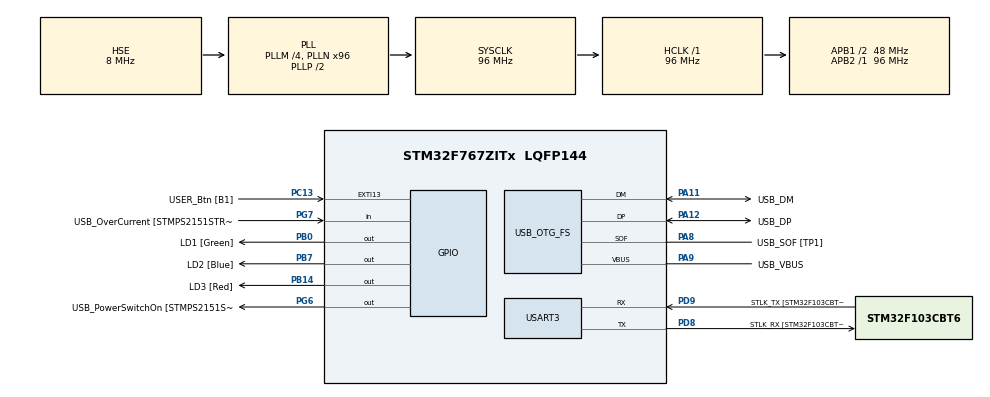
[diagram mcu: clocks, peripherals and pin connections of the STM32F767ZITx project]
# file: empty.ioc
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Mcu.Family=STM32F7
NVIC.USART3_IRQn=true\:0\:0\:false\:false\:true\:true\:true
Dma.USART3_RX.0.PeriphInc=DMA_PINC_DISABLE
RCC.CortexFreq_Value=96000000
PG6.Signal=GPIO_Output
Dma.USART3_TX.1.MemInc=DMA_MINC_ENABLE
PB14.GPIO_Label=LD3 [Red]
VP_IWDG_VS_IWDG.Mode=IWDG_Activate
PG6.GPIO_Label=USB_PowerSwitchOn [STMPS2151STR_EN]
PA14.GPIO_Label=TCK
RCC.SYSCLKSourceVirtual=RCC_SYSCLKSOURCE_PLLCLK
Dma.USART3_TX.1.PeriphDataAlignment=DMA_PDATAALIGN_BYTE
PA11.Mode=Device_Only
PB0.GPIO_Label=LD1 [Green]
PC14/OSC32_IN.Mode=LSE-External-Oscillator
Dma.USART3_TX.1.Instance=DMA1_Stream3
PC13.GPIO_Label=USER_Btn [B1]
PB13.GPIO_Label=RMII_TXD1 [LAN8742A-CZ-TR_TXD1]
PB13.Signal=ETH_TXD1
PG13.Signal=ETH_TXD0
PD9.Mode=Asynchronous
PG11.Signal=ETH_TX_EN
RCC.SYSCLKSource=RCC_SYSCLKSOURCE_PLLCLK
ProjectManager.StackSize=0x400
USART3.VirtualMode-Asynchronous=VM_ASYNC
PA12.Signal=USB_OTG_FS_DP
PH0/OSC_IN.Mode=HSE-External-Clock-Source
RCC.HCLKFreq_Value=96000000
RCC.APB2TimFreq_Value=96000000
PH1/OSC_OUT.Signal=RCC_OSC_OUT
PD8.Signal=USART3_TX
RCC.AHBFreq_Value=96000000
RCC.HSE_VALUE=8000000
Dma.USART3_RX.0.MemDataAlignment=DMA_MDATAALIGN_BYTE
Dma.USART3_TX.1.Mode=DMA_NORMAL
RCC.PLLMUL=RCC_PLL_MUL9
PC4.GPIO_Label=RMII_RXD0 [LAN8742A-CZ-TR_RXD0]
PA14.Mode=Serial_Wire
PA10.GPIO_Label=USB_ID
Dma.USART3_RX.0.PeriphDataAlignment=DMA_PDATAALIGN_BYTE
PB7.Signal=GPIO_Output
Dma.USART3_RX.0.FIFOMode=DMA_FIFOMODE_DISABLE
PA8.Signal=USB_OTG_FS_SOF
PH1/OSC_OUT.Mode=HSE-External-Clock-Source
Dma.USART3_TX.1.FIFOMode=DMA_FIFOMODE_DISABLE
Dma.USART3_TX.1.Priority=DMA_PRIORITY_LOW
PB7.GPIO_Label=LD2 [Blue]
Dma.USART3_RX.0.Direction=DMA_PERIPH_TO_MEMORY
Mcu.Package=LQFP144
PC14/OSC32_IN.Signal=RCC_OSC32_IN
PA2.GPIO_Label=RMII_MDIO [LAN8742A-CZ-TR_MDIO]
PA10.Signal=USB_OTG_FS_ID
USB_OTG_FS.VirtualMode=Device_Only
Dma.USART3_RX.0.MemInc=DMA_MINC_ENABLE
Dma.Request1=USART3_TX
RCC.APB1TimFreq_Value=96000000
PG11.GPIO_Label=RMII_TX_EN [LAN8742A-CZ-TR_TXEN]
PC5.Signal=ETH_RXD1
Dma.USART3_TX.1.PeriphInc=DMA_PINC_DISABLE
Dma.Request0=USART3_RX
PB3.GPIO_Label=SWO
Dma.USART3_RX.0.Instance=DMA1_Stream1
Dma.USART3_TX.1.MemDataAlignment=DMA_MDATAALIGN_BYTE
PG7.Signal=GPIO_Input
PD9.GPIO_Label=STLK_TX [STM32F103CBT6_PA2]
PC13.Signal=GPXTI13
PA9.GPIO_Label=USB_VBUS
PC4.Signal=ETH_RXD0
PA11.GPIO_Label=USB_DM
PD9.Signal=USART3_RX
NVIC.DMA1_Stream1_IRQn=true\:0\:0\:false\:false\:true\:false\:true
RCC.APB1CLKDivider=RCC_HCLK_DIV2
PG13.GPIO_Label=RMII_TXD0 [LAN8742A-CZ-TR_TXD0]
PA12.GPIO_Label=USB_DP
Dma.USART3_RX.0.Mode=DMA_NORMAL
PD8.GPIO_Label=STLK_RX [STM32F103CBT6_PA3]
PA13.Signal=SYS_JTMS-SWDIO
PA9.Mode=Activate_VBUS
PA8.GPIO_Label=USB_SOF [TP1]
ProjectManager.TargetToolchain=Makefile
PA9.Signal=USB_OTG_FS_VBUS
RCC.USBFreq_Value=48000000
PD8.Mode=Asynchronous
PA1.Signal=ETH_REF_CLK
PB14.Signal=GPIO_Output
board=NUCLEO-F767ZI
RCC.VCOOutputFreq_Value=192000000
PH0/OSC_IN.Signal=RCC_OSC_IN
RCC.APB2Freq_Value=96000000
RCC.PRESCALERUSB=RCC_USBCLKSOURCE_PLL_DIV1_5
PG7.GPIO_Label=USB_OverCurrent [STMPS2151STR_FAULT]
PA1.GPIO_Label=RMII_REF_CLK [LAN8742A-CZ-TR_REFCLK0]
PC1.GPIO_Label=RMII_MDC [LAN8742A-CZ-TR_MDC]
PA13.Mode=Serial_Wire
Mcu.Name=STM32F767ZITx
PA13.GPIO_Label=TMS
PA2.Signal=ETH_MDIO
RCC.48MHZClocksFreq_Value=24000000
PB3.Signal=SYS_JTDO-SWO
RCC.SYSCLKFreq_VALUE=96000000
Dma.USART3_RX.0.Priority=DMA_PRIORITY_LOW
PA7.GPIO_Label=RMII_CRS_DV [LAN8742A-CZ-TR_CRS_DV]
PA12.Mode=Device_Only
PC5.GPIO_Label=RMII_RXD1 [LAN8742A-CZ-TR_RXD1]
PC15/OSC32_OUT.Mode=LSE-External-Oscillator
PA11.Signal=USB_OTG_FS_DM
PA14.Signal=SYS_JTCK-SWCLK
ProjectManager.HeapSize=0x200
RCC.HSI_VALUE=16000000
PH0/OSC_IN.GPIO_Label=MCO [STM32F103CBT6_PA8]
RCC.PLLQ=4
NVIC.PriorityGroup=NVIC_PRIORITYGROUP_4
Dma.USART3_TX.1.Direction=DMA_MEMORY_TO_PERIPH
RCC.PLLM=4
RCC.PLLN=96
NVIC.DMA1_Stream3_IRQn=true\:0\:0\:false\:false\:true\:false\:true
PC15/OSC32_OUT.Signal=RCC_OSC32_OUT
PA8.Mode=Activate_SOF_FS
RCC.APB1Freq_Value=48000000
PB0.Signal=GPIO_Output
PC1.Signal=ETH_MDC
PA7.Signal=ETH_CRS_DV

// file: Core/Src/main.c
/* USER CODE BEGIN Header */
/**
  ******************************************************************************
  * @file           : main.c
  * @brief          : Main program body
  ******************************************************************************
  * @attention
  *
  * <h2><center>&copy; Copyright (c) 2021 STMicroelectronics.
  * All rights reserved.</center></h2>
  *
  * This software component is licensed by ST under BSD 3-Clause license,
  * the "License"; You may not use this file except in compliance with the
  * License. You may obtain a copy of the License at:
  *                        opensource.org/licenses/BSD-3-Clause
  *
  ******************************************************************************
  */
/* USER CODE END Header */
#include "main.h"

/* USER CODE BEGIN Includes */
#include <stdbool.h>
#include <stdio.h>
/* USER CODE END Includes */

IWDG_HandleTypeDef hiwdg;

UART_HandleTypeDef huart3;
DMA_HandleTypeDef hdma_usart3_rx;
DMA_HandleTypeDef hdma_usart3_tx;

PCD_HandleTypeDef hpcd_USB_OTG_FS;

/* USER CODE BEGIN PV */
static unsigned char dma_buff_1[8] = {0};
static unsigned char dma_buff_2[8] = {0};
unsigned char *dma_write_ptr = dma_buff_1;
volatile unsigned char *process_ptr = NULL;
volatile bool process_late = false;
volatile bool in_tx = false;
/* USER CODE END PV */

void SystemClock_Config(void);
static void MX_GPIO_Init(void);
static void MX_DMA_Init(void);
static void MX_USART3_UART_Init(void);
static void MX_USB_OTG_FS_PCD_Init(void);
static void MX_IWDG_Init(void);

/* USER CODE BEGIN 0 */

void HAL_UART_RxCpltCallback(UART_HandleTypeDef *huart)
{
  // set process ptr.
  if (process_ptr == NULL)
    process_ptr = dma_write_ptr;
  else
    process_late = true;
  // Switch write ptr.
  if (dma_write_ptr == dma_buff_1)
    dma_write_ptr = dma_buff_2;
  else
    dma_write_ptr = dma_buff_1;
  // Restart receive if possible.
  if (!process_late)
    HAL_UART_Receive_DMA (huart, dma_write_ptr, 8);
}

void HAL_UART_TxCpltCallback(UART_HandleTypeDef *huart)
{
  // reset process ptr.
  process_ptr = NULL;
  in_tx = false;
}

/* USER CODE END 0 */

int main(void)
{

  /* MCU Configuration--------------------------------------------------------*/

  /* Reset of all peripherals, Initializes the Flash interface and the Systick. */
  HAL_Init();

  /* Configure the system clock */
  SystemClock_Config();

  /* Initialize all configured peripherals */
  MX_GPIO_Init();
  MX_DMA_Init();
  MX_USART3_UART_Init();
  MX_USB_OTG_FS_PCD_Init();
  MX_IWDG_Init();
  /* USER CODE BEGIN 2 */
  void flash_write(const uint32_t *src, uint32_t dst, uint32_t size)
  {
    HAL_FLASH_Unlock();
    __HAL_FLASH_CLEAR_FLAG(FLASH_FLAG_ALL_ERRORS);
    FLASH_EraseInitTypeDef EraseInit;
    EraseInit.TypeErase = TYPEERASE_SECTORS;
    EraseInit.Sector = FLASH_SECTOR_5;
    EraseInit.NbSectors = 1;
    EraseInit.VoltageRange = FLASH_VOLTAGE_RANGE_3;
    uint32_t SectorError = 0xFFFFFFFF;
    if (HAL_FLASHEx_Erase(&EraseInit, &SectorError) != HAL_OK)
    {
      HAL_FLASH_Lock();
      return;
    }
    for (size_t i = size; i > 0; i/=4)
    {
      if (HAL_FLASH_Program(TYPEPROGRAM_WORD, dst, *(src + i)) != HAL_OK)
      {
        HAL_FLASH_Lock();
        return;
      }
      dst += 4;
    }
    HAL_FLASH_Lock();
  }

  // Bootloader
  // check prgm signé (ex: libsodium) -> stocker metadata dans le
  // binaire

  // mettre a jour le prgm : UART pour le recuperer + flash erase pour
  // update
  const uint32_t *src;
  uint32_t dst = 0x08020004;
  uint32_t size = 0; // bin size
  flash_write(src, dst, size);

  // jump to prgm :
  // - disable IRQ
  // - deinit periph
  // - jump
  __disable_irq();
  HAL_DeInit();
  uint32_t stack = *((uint32_t *)0x08020000);
  uint32_t program = *((uint32_t *)0x08020004);
  uint32_t new_vector_table_offset = 0x20000;
  SCB->VTOR = new_vector_table_offset;
  void (*jump_to_program)(void);
  jump_to_program = program;
  __set_MSP(stack);
  jump_to_program();
  HAL_Init();
  __enable_irq();

  /* USER CODE END 2 */

  /* Infinite loop */
  while (1)
  {

  }
}

void SystemClock_Config(void)
{
  RCC_OscInitTypeDef RCC_OscInitStruct = {0};
  RCC_ClkInitTypeDef RCC_ClkInitStruct = {0};
  RCC_PeriphCLKInitTypeDef PeriphClkInitStruct = {0};

  /** Configure LSE Drive Capability
  */
  HAL_PWR_EnableBkUpAccess();
  /** Configure the main internal regulator output voltage
  */
  __HAL_RCC_PWR_CLK_ENABLE();
  __HAL_PWR_VOLTAGESCALING_CONFIG(PWR_REGULATOR_VOLTAGE_SCALE3);
  /** Initializes the RCC Oscillators according to the specified parameters
  * in the RCC_OscInitTypeDef structure.
  */
  RCC_OscInitStruct.OscillatorType = RCC_OSCILLATORTYPE_LSI|RCC_OSCILLATORTYPE_HSE;
  RCC_OscInitStruct.HSEState = RCC_HSE_BYPASS;
  RCC_OscInitStruct.LSIState = RCC_LSI_ON;
  RCC_OscInitStruct.PLL.PLLState = RCC_PLL_ON;
  RCC_OscInitStruct.PLL.PLLSource = RCC_PLLSOURCE_HSE;
  RCC_OscInitStruct.PLL.PLLM = 4;
  RCC_OscInitStruct.PLL.PLLN = 96;
  RCC_OscInitStruct.PLL.PLLP = RCC_PLLP_DIV2;
  RCC_OscInitStruct.PLL.PLLQ = 4;
  if (HAL_RCC_OscConfig(&RCC_OscInitStruct) != HAL_OK)
  {
    Error_Handler();
  }
  /** Activate the Over-Drive mode
  */
  if (HAL_PWREx_EnableOverDrive() != HAL_OK)
  {
    Error_Handler();
  }
  /** Initializes the CPU, AHB and APB buses clocks
  */
  RCC_ClkInitStruct.ClockType = RCC_CLOCKTYPE_HCLK|RCC_CLOCKTYPE_SYSCLK
                              |RCC_CLOCKTYPE_PCLK1|RCC_CLOCKTYPE_PCLK2;
  RCC_ClkInitStruct.SYSCLKSource = RCC_SYSCLKSOURCE_PLLCLK;
  RCC_ClkInitStruct.AHBCLKDivider = RCC_SYSCLK_DIV1;
  RCC_ClkInitStruct.APB1CLKDivider = RCC_HCLK_DIV2;
  RCC_ClkInitStruct.APB2CLKDivider = RCC_HCLK_DIV1;

  if (HAL_RCC_ClockConfig(&RCC_ClkInitStruct, FLASH_LATENCY_3) != HAL_OK)
  {
    Error_Handler();
  }
  PeriphClkInitStruct.PeriphClockSelection = RCC_PERIPHCLK_USART3|RCC_PERIPHCLK_CLK48;
  PeriphClkInitStruct.Usart3ClockSelection = RCC_USART3CLKSOURCE_PCLK1;
  PeriphClkInitStruct.Clk48ClockSelection = RCC_CLK48SOURCE_PLL;
  if (HAL_RCCEx_PeriphCLKConfig(&PeriphClkInitStruct) != HAL_OK)
  {
    Error_Handler();
  }
}

static void MX_IWDG_Init(void)
{

  hiwdg.Instance = IWDG;
  hiwdg.Init.Prescaler = IWDG_PRESCALER_4;
  hiwdg.Init.Window = 4095;
  hiwdg.Init.Reload = 4095;
  if (HAL_IWDG_Init(&hiwdg) != HAL_OK)
  {
    Error_Handler();
  }

}

static void MX_USART3_UART_Init(void)
{

  huart3.Instance = USART3;
  huart3.Init.BaudRate = 115200;
  huart3.Init.WordLength = UART_WORDLENGTH_8B;
  huart3.Init.StopBits = UART_STOPBITS_1;
  huart3.Init.Parity = UART_PARITY_NONE;
  huart3.Init.Mode = UART_MODE_TX_RX;
  huart3.Init.HwFlowCtl = UART_HWCONTROL_NONE;
  huart3.Init.OverSampling = UART_OVERSAMPLING_16;
  huart3.Init.OneBitSampling = UART_ONE_BIT_SAMPLE_DISABLE;
  huart3.AdvancedInit.AdvFeatureInit = UART_ADVFEATURE_NO_INIT;
  if (HAL_UART_Init(&huart3) != HAL_OK)
  {
    Error_Handler();
  }

}

static void MX_USB_OTG_FS_PCD_Init(void)
{

  hpcd_USB_OTG_FS.Instance = USB_OTG_FS;
  hpcd_USB_OTG_FS.Init.dev_endpoints = 6;
  hpcd_USB_OTG_FS.Init.speed = PCD_SPEED_FULL;
  hpcd_USB_OTG_FS.Init.dma_enable = DISABLE;
  hpcd_USB_OTG_FS.Init.phy_itface = PCD_PHY_EMBEDDED;
  hpcd_USB_OTG_FS.Init.Sof_enable = ENABLE;
  hpcd_USB_OTG_FS.Init.low_power_enable = DISABLE;
  hpcd_USB_OTG_FS.Init.lpm_enable = DISABLE;
  hpcd_USB_OTG_FS.Init.vbus_sensing_enable = ENABLE;
  hpcd_USB_OTG_FS.Init.use_dedicated_ep1 = DISABLE;
  if (HAL_PCD_Init(&hpcd_USB_OTG_FS) != HAL_OK)
  {
    Error_Handler();
  }

}

static void MX_DMA_Init(void)
{

  /* DMA controller clock enable */
  __HAL_RCC_DMA1_CLK_ENABLE();

  /* DMA interrupt init */
  /* DMA1_Stream1_IRQn interrupt configuration */
  HAL_NVIC_SetPriority(DMA1_Stream1_IRQn, 0, 0);
  HAL_NVIC_EnableIRQ(DMA1_Stream1_IRQn);
  /* DMA1_Stream3_IRQn interrupt configuration */
  HAL_NVIC_SetPriority(DMA1_Stream3_IRQn, 0, 0);
  HAL_NVIC_EnableIRQ(DMA1_Stream3_IRQn);

}

static void MX_GPIO_Init(void)
{
  GPIO_InitTypeDef GPIO_InitStruct = {0};

  /* GPIO Ports Clock Enable */
  __HAL_RCC_GPIOC_CLK_ENABLE();
  __HAL_RCC_GPIOH_CLK_ENABLE();
  __HAL_RCC_GPIOA_CLK_ENABLE();
  __HAL_RCC_GPIOB_CLK_ENABLE();
  __HAL_RCC_GPIOD_CLK_ENABLE();
  __HAL_RCC_GPIOG_CLK_ENABLE();

  /*Configure GPIO pin Output Level */
  HAL_GPIO_WritePin(GPIOB, LD1_Pin|LD3_Pin|LD2_Pin, GPIO_PIN_RESET);

  /*Configure GPIO pin Output Level */
  HAL_GPIO_WritePin(USB_PowerSwitchOn_GPIO_Port, USB_PowerSwitchOn_Pin, GPIO_PIN_RESET);

  /*Configure GPIO pin : USER_Btn_Pin */
  GPIO_InitStruct.Pin = USER_Btn_Pin;
  GPIO_InitStruct.Mode = GPIO_MODE_IT_RISING;
  GPIO_InitStruct.Pull = GPIO_NOPULL;
  HAL_GPIO_Init(USER_Btn_GPIO_Port, &GPIO_InitStruct);

  /*Configure GPIO pins : RMII_MDC_Pin RMII_RXD0_Pin RMII_RXD1_Pin */
  GPIO_InitStruct.Pin = RMII_MDC_Pin|RMII_RXD0_Pin|RMII_RXD1_Pin;
  GPIO_InitStruct.Mode = GPIO_MODE_AF_PP;
  GPIO_InitStruct.Pull = GPIO_NOPULL;
  GPIO_InitStruct.Speed = GPIO_SPEED_FREQ_VERY_HIGH;
  GPIO_InitStruct.Alternate = GPIO_AF11_ETH;
  HAL_GPIO_Init(GPIOC, &GPIO_InitStruct);

  /*Configure GPIO pins : RMII_REF_CLK_Pin RMII_MDIO_Pin RMII_CRS_DV_Pin */
  GPIO_InitStruct.Pin = RMII_REF_CLK_Pin|RMII_MDIO_Pin|RMII_CRS_DV_Pin;
  GPIO_InitStruct.Mode = GPIO_MODE_AF_PP;
  GPIO_InitStruct.Pull = GPIO_NOPULL;
  GPIO_InitStruct.Speed = GPIO_SPEED_FREQ_VERY_HIGH;
  GPIO_InitStruct.Alternate = GPIO_AF11_ETH;
  HAL_GPIO_Init(GPIOA, &GPIO_InitStruct);

  /*Configure GPIO pins : LD1_Pin LD3_Pin LD2_Pin */
  GPIO_InitStruct.Pin = LD1_Pin|LD3_Pin|LD2_Pin;
  GPIO_InitStruct.Mode = GPIO_MODE_OUTPUT_PP;
  GPIO_InitStruct.Pull = GPIO_NOPULL;
  GPIO_InitStruct.Speed = GPIO_SPEED_FREQ_LOW;
  HAL_GPIO_Init(GPIOB, &GPIO_InitStruct);

  /*Configure GPIO pin : RMII_TXD1_Pin */
  GPIO_InitStruct.Pin = RMII_TXD1_Pin;
  GPIO_InitStruct.Mode = GPIO_MODE_AF_PP;
  GPIO_InitStruct.Pull = GPIO_NOPULL;
  GPIO_InitStruct.Speed = GPIO_SPEED_FREQ_VERY_HIGH;
  GPIO_InitStruct.Alternate = GPIO_AF11_ETH;
  HAL_GPIO_Init(RMII_TXD1_GPIO_Port, &GPIO_InitStruct);

  /*Configure GPIO pin : USB_PowerSwitchOn_Pin */
  GPIO_InitStruct.Pin = USB_PowerSwitchOn_Pin;
  GPIO_InitStruct.Mode = GPIO_MODE_OUTPUT_PP;
  GPIO_InitStruct.Pull = GPIO_NOPULL;
  GPIO_InitStruct.Speed = GPIO_SPEED_FREQ_LOW;
  HAL_GPIO_Init(USB_PowerSwitchOn_GPIO_Port, &GPIO_InitStruct);

  /*Configure GPIO pin : USB_OverCurrent_Pin */
  GPIO_InitStruct.Pin = USB_OverCurrent_Pin;
  GPIO_InitStruct.Mode = GPIO_MODE_INPUT;
  GPIO_InitStruct.Pull = GPIO_NOPULL;
  HAL_GPIO_Init(USB_OverCurrent_GPIO_Port, &GPIO_InitStruct);

  /*Configure GPIO pins : RMII_TX_EN_Pin RMII_TXD0_Pin */
  GPIO_InitStruct.Pin = RMII_TX_EN_Pin|RMII_TXD0_Pin;
  GPIO_InitStruct.Mode = GPIO_MODE_AF_PP;
  GPIO_InitStruct.Pull = GPIO_NOPULL;
  GPIO_InitStruct.Speed = GPIO_SPEED_FREQ_VERY_HIGH;
  GPIO_InitStruct.Alternate = GPIO_AF11_ETH;
  HAL_GPIO_Init(GPIOG, &GPIO_InitStruct);

}

void Error_Handler(void)
{
  __disable_irq();
  while (1)
  {
  }
}

/************************ (C) COPYRIGHT STMicroelectronics *****END OF FILE****/
